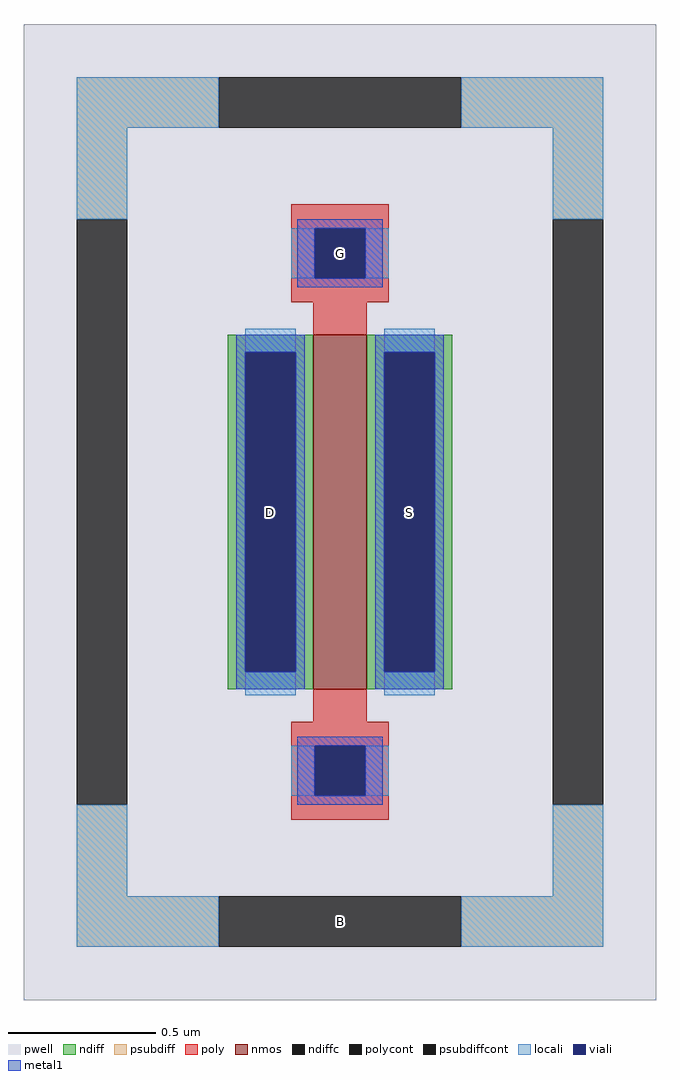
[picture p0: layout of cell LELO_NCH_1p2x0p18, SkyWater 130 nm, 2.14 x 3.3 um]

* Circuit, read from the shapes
.subckt LELO_NCH_1p2x0p18 D G S B
XM1 S G D B sky130_fd_pr__nfet_01v8 w=1.2 l=0.18
.ends

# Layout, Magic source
magic
tech sky130A
magscale 1 2
<< pwell >>
rect -214 -330 214 330
<< nmos >>
rect -18 -120 18 120
<< ndiff >>
rect -76 108 -18 120
rect -76 -108 -64 108
rect -30 -108 -18 108
rect -76 -120 -18 -108
rect 18 108 76 120
rect 18 -108 30 108
rect 64 -108 76 108
rect 18 -120 76 -108
<< ndiffc >>
rect -64 -108 -30 108
rect 30 -108 64 108
<< psubdiff >>
rect -178 260 -82 294
rect 82 260 178 294
rect -178 198 -144 260
rect 144 198 178 260
rect -178 -260 -144 -198
rect 144 -260 178 -198
rect -178 -294 -82 -260
rect 82 -294 178 -260
<< psubdiffcont >>
rect -82 260 82 294
rect -178 -198 -144 198
rect 144 -198 178 198
rect -82 -294 82 -260
<< poly >>
rect -33 192 33 208
rect -33 158 -17 192
rect 17 158 33 192
rect -33 142 33 158
rect -18 120 18 142
rect -18 -142 18 -120
rect -33 -158 33 -142
rect -33 -192 -17 -158
rect 17 -192 33 -158
rect -33 -208 33 -192
<< polycont >>
rect -17 158 17 192
rect -17 -192 17 -158
<< locali >>
rect -178 260 -82 294
rect 82 260 178 294
rect -178 198 -144 260
rect 144 198 178 260
rect -33 158 -17 192
rect 17 158 33 192
rect -64 108 -30 124
rect -64 -124 -30 -108
rect 30 108 64 124
rect 30 -124 64 -108
rect -33 -192 -17 -158
rect 17 -192 33 -158
rect -178 -260 -144 -198
rect 144 -260 178 -198
rect -178 -294 -82 -260
rect 82 -294 178 -260
<< viali >>
rect -17 158 17 192
rect -64 -108 -30 108
rect 30 -108 64 108
rect -17 -192 17 -158
<< metal1 >>
rect -29 192 29 198
rect -29 158 -17 192
rect 17 158 29 192
rect -29 152 29 158
rect -70 108 -24 120
rect -70 -108 -64 108
rect -30 -108 -24 108
rect -70 -120 -24 -108
rect 24 108 70 120
rect 24 -108 30 108
rect 64 -108 70 108
rect 24 -120 70 -108
rect -29 -158 29 -152
rect -29 -192 -17 -158
rect 17 -192 29 -158
rect -29 -198 29 -192
<< labels >>
flabel locali s -4 -281 4 -273 0 FreeSans 200 0 0 0 B
port 4 nsew
flabel metal1 s -51 -4 -43 4 0 FreeSans 200 0 0 0 D
port 1 nsew
flabel metal1 s 43 -4 51 4 0 FreeSans 200 0 0 0 S
port 3 nsew
flabel metal1 s -4 171 4 179 0 FreeSans 200 0 0 0 G
port 2 nsew
<< properties >>
string FIXED_BBOX -161 -277 161 277
<< end >>
